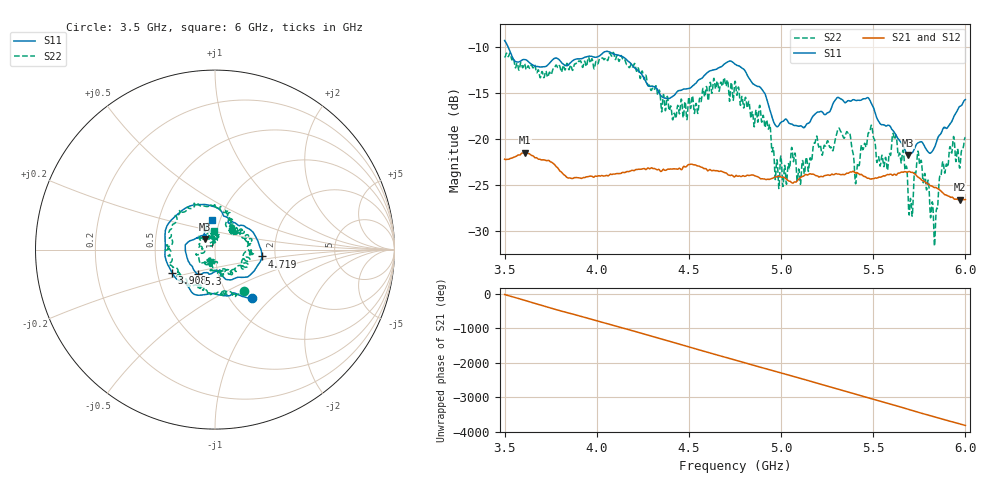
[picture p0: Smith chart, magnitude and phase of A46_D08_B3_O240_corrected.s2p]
! Created with skrf 1.9.0 (http://scikit-rf.org).
# Hz S RI R 50.0
!freq ReS11 ImS11 ReS21 ImS21 ReS12 ImS12 ReS22 ImS22
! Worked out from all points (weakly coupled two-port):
!   1601 points, 3.5 GHz to 6 GHz, reference 50 ohm
!   highest |S21| = -21.47 dB at 3.611 GHz (marker M1); lowest = -26.6 dB at 5.969 GHz (marker M2)
!   lowest |S11| = -21.7 dB at 5.689 GHz (marker M3), VSWR 1.18, Z = 44.4 + j5.34 ohm
!   |S11| at or under -10 dB: 3.518 GHz to end of sweep
!   |S22| runs from -31.6 to -10.6 dB; largest |S21 - S12| = 0.001
!   S11 on the Smith chart (normalised r, x): 3.5 GHz: 1.26, -0.77; 3.908 GHz: 0.60, -0.17; 4.719 GHz: 1.70, -0.14; 5.3 GHz: 0.80, -0.23; 6 GHz: 0.92, +0.31
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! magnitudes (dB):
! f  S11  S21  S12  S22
! 3.5 GHz  -9.3  -22.2  -22.2  -11.1
! 3.611 GHz  -11.4  -21.5  -21.5  -12.0
! 3.908 GHz  -11.3  -24.2  -24.2  -11.6
! 3.917 GHz  -11.3  -24.3  -24.2  -11.8
! 4.334 GHz  -14.8  -23.3  -23.2  -15.1
! 4.719 GHz  -11.6  -23.9  -24.0  -15.8
! 4.75 GHz  -11.9  -24.1  -24.0  -13.7
! 4.931 GHz  -16.3  -24.4  -24.3  -18.9
! 4.978 GHz  -18.7  -24.1  -24.1  -22.2
! 5.167 GHz  -17.7  -23.8  -23.8  -22.2
! 5.3 GHz  -15.6  -23.8  -23.7  -19.6
! 5.409 GHz  -15.8  -23.6  -23.6  -23.9
! 5.484 GHz  -15.9  -24.3  -24.3  -18.9
! 5.584 GHz  -18.5  -23.9  -23.8  -21.9
! 5.617 GHz  -19.4  -23.8  -23.8  -20.0
! 5.689 GHz  -21.7  -23.6  -23.5  -26.1
! 5.705 GHz  -21.6  -23.6  -23.6  -26.7
! 5.75 GHz  -20.3  -24.2  -24.2  -22.5
! 5.838 GHz  -20.7  -25.2  -25.2  -29.1
! 5.87 GHz  -19.3  -25.7  -25.6  -23.6
! 5.969 GHz  -16.5  -26.6  -26.6  -23.1
! 6 GHz  -15.7  -26.6  -26.5  -19.8
